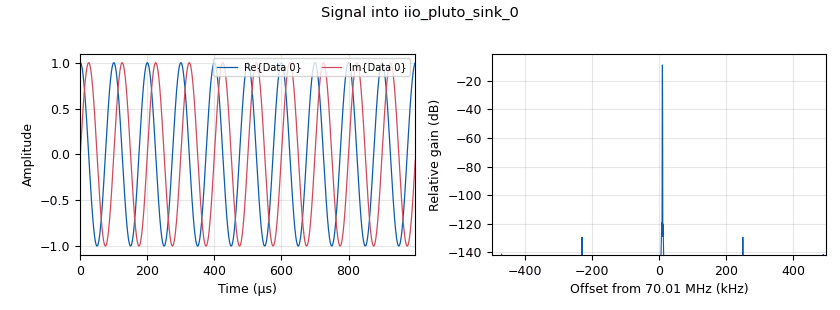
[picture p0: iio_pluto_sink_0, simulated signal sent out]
options:
  parameters:
    generate_options: qt_gui
    id: pluto
    output_language: python
    title: Not titled yet
  states: {}

blocks:
- name: samp_rate
  id: variable
  parameters:
    value: '32000'
  states: {}
- name: analog_sig_source_x_0
  id: analog_sig_source_x
  parameters:
    amp: '1'
    freq: '10000'
    offset: '0'
    phase: '0'
    samp_rate: '1000000'
    type: complex
    waveform: analog.GR_COS_WAVE
  states: {}
- name: iio_pluto_sink_0
  id: iio_pluto_sink
  parameters:
    attenuation1: '10.0'
    bandwidth: '1000000'
    buffer_size: '32768'
    cyclic: 'False'
    filter_source: '''Auto'''
    frequency: '70010000'
    samplerate: '1000000'
    type: fc32
    uri: 192.168.2.1
  states: {}
- name: iio_pluto_source_0
  id: iio_pluto_source
  parameters:
    bandwidth: '1000000'
    bbdc: 'True'
    buffer_size: '32768'
    filter_source: '''Auto'''
    frequency: '70000000'
    gain1: '''manual'''
    manual_gain1: '10'
    quadrature: 'True'
    rfdc: 'True'
    samplerate: '1000000'
    type: fc32
    uri: 192.168.2.1
  states: {}
- name: qtgui_sink_x_0
  id: qtgui_sink_x
  parameters:
    bw: '1000000'
    fc: '0'
    fftsize: '2048'
    type: complex
  states: {}

connections:
- [analog_sig_source_x_0, '0', iio_pluto_sink_0, '0']
- [iio_pluto_source_0, '0', qtgui_sink_x_0, '0']

metadata:
  file_format: 1
